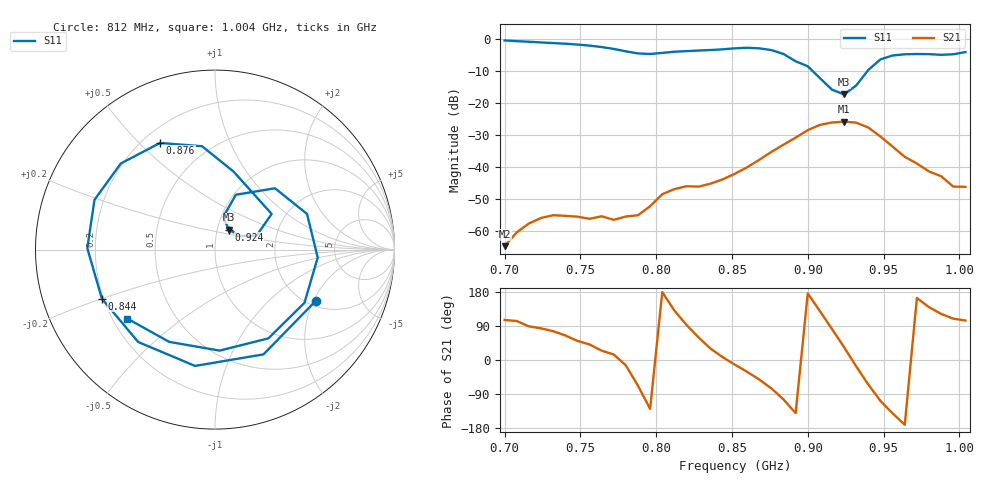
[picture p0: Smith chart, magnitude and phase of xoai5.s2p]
# Hz S RI R 50
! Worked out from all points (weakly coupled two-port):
!   39 points, 700 MHz to 1.004 GHz, reference 50 ohm
!   highest |S21| = -25.90 dB at 924 MHz (marker M1); lowest = -64.8 dB at 700 MHz (marker M2)
!   lowest |S11| = -17.4 dB at 924 MHz (marker M3), VSWR 1.31, Z = 56.8 + j12.8 ohm
!   |S11| at or under -10 dB: 903.1 MHz to 939.5 MHz (36.42 MHz wide, 3.95 % of centre)
!   S12 and S22 are empty: the file has one direction only
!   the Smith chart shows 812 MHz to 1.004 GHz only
!   S11 on the Smith chart (normalised r, x): 812 MHz: 2.19, -2.08; 844 MHz: 0.19, -0.20; 876 MHz: 0.27, +0.58; 924 MHz: 1.14, +0.26; 1.004 GHz: 0.26, -0.33
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7e8  0.7661 0.553  -0.000155 0.000552  0 0  0 0
7.24e8  0.8442 -0.2446  0.00018 0.00157  0 0  0 0
7.4e8  0.4582 -0.7049  0.000723 0.00155  0 0  0 0
7.56e8  -0.1924 -0.7605  0.00116 0.00101  0 0  0 0
7.72e8  -0.6672 -0.201  0.00143 0.00037  0 0  0 0
7.8e8  -0.597 0.2261  0.00162 -0.000407  0 0  0 0
7.88e8  -0.2482 0.5374  0.000652 -0.00162  0 0  0 0
7.96e8  0.2446 0.5266  -0.00152 -0.00188  0 0  0 0
8.04e8  0.5782 0.1722  -0.00372 6.27e-05  0 0  0 0
8.12e8  0.5606 -0.2865  -0.00292 0.00339  0 0  0 0
8.28e8  -0.1111 -0.6481  0.00249 0.00421  0 0  0 0
8.44e8  -0.6302 -0.2735  0.00632 0.000799  0 0  0 0
8.52e8  -0.7115 0.00797  0.00761 -0.00169  0 0  0 0
8.76e8  -0.3062 0.5943  0.00446 -0.0165  0 0  0 0
9e8  0.3155 0.1986  -0.0372 0.00276  0 0  0 0
9.08e8  0.2311 0.0772  -0.0285 0.0351  0 0  0 0
9.24e8  0.0774 0.1109  0.0422 0.028  0 0  0 0
9.4e8  0.1164 0.3058  0.0173 -0.0371  0 0  0 0
9.56e8  0.5127 0.1988  -0.016 -0.0131  0 0  0 0
9.64e8  0.5723 -0.0445  -0.0141 -0.00225  0 0  0 0
9.8e8  0.2974 -0.4946  -0.0064 0.00549  0 0  0 0
1.004e9  -0.4886 -0.3843  -0.00119 0.00471  0 0  0 0
